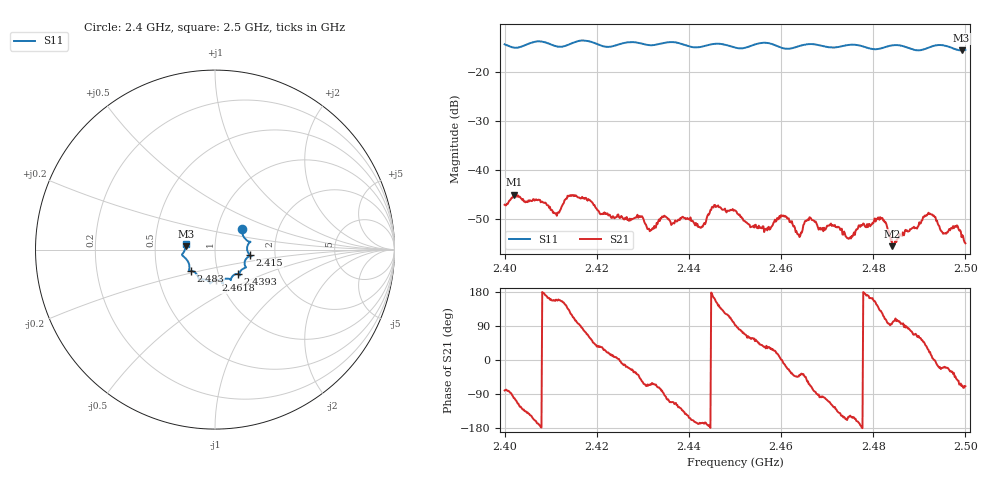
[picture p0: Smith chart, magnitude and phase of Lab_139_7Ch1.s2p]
# Hz S RI R 50
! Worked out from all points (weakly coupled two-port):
!   601 points, 2.4 GHz to 2.5 GHz, reference 50 ohm
!   highest |S21| = -44.95 dB at 2.402 GHz (marker M1); lowest = -55.4 dB at 2.4842 GHz (marker M2)
!   lowest |S11| = -15.7 dB at 2.4992 GHz (marker M3), VSWR 1.39, Z = 35.9 + j1.36 ohm
!   |S11| at or under -10 dB: start of sweep to end of sweep
!   S12 and S22 are empty: the file has one direction only
!   S11 on the Smith chart (normalised r, x): 2.4 GHz: 1.31, +0.31; 2.415 GHz: 1.48, -0.10; 2.4393 GHz: 1.23, -0.35; 2.4618 GHz: 0.95, -0.33; 2.483 GHz: 0.74, -0.18; 2.5 GHz: 0.72, +0.05
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2.4e9  0.1511 0.1142  0.000751 -0.0044  0 0  0 0
2.402e9  0.1551 0.0816  -0.00104 -0.00556  0 0  0 0
2.411333e9  0.1795 0.0152  -0.0032 0.00129  0 0  0 0
2.415e9  0.1947 -0.032  -0.00205 0.00506  0 0  0 0
2.416667e9  0.2032 -0.038  0.000394 0.00519  0 0  0 0
2.433333e9  0.1369 -0.1317  0.000928 -0.00288  0 0  0 0
2.439333e9  0.1254 -0.1357  -0.0025 -0.00197  0 0  0 0
2.4425e9  0.0963 -0.1494  -0.00254 -0.000561  0 0  0 0
2.4455e9  0.0885 -0.1694  -0.00425 0.00128  0 0  0 0
2.45e9  0.069 -0.1614  -0.00015 0.0039  0 0  0 0
2.456667e9  0.0441 -0.1912  0.00217 0.00129  0 0  0 0
2.461833e9  0.0041 -0.1709  0.00261 -0.00145  0 0  0 0
2.464e9  -0.0202 -0.181  0.00163 -0.00132  0 0  0 0
2.466667e9  -0.0259 -0.1886  0.000915 -0.00299  0 0  0 0
2.474667e9  -0.0838 -0.1668  -0.00176 -0.000971  0 0  0 0
2.481167e9  -0.1175 -0.1228  -0.00242 0.00226  0 0  0 0
2.483e9  -0.1357 -0.1179  -0.000449 0.00264  0 0  0 0
2.483333e9  -0.1384 -0.1177  -0.000274 0.00243  0 0  0 0
2.484167e9  -0.143 -0.1174  -0.000257 0.00168  0 0  0 0
2.492333e9  -0.173 -0.0398  0.00338 0.0013  0 0  0 0
2.499167e9  -0.1633 0.0184  0.000758 -0.00195  0 0  0 0
2.5e9  -0.1633 0.033  0.00064 -0.0017  0 0  0 0
